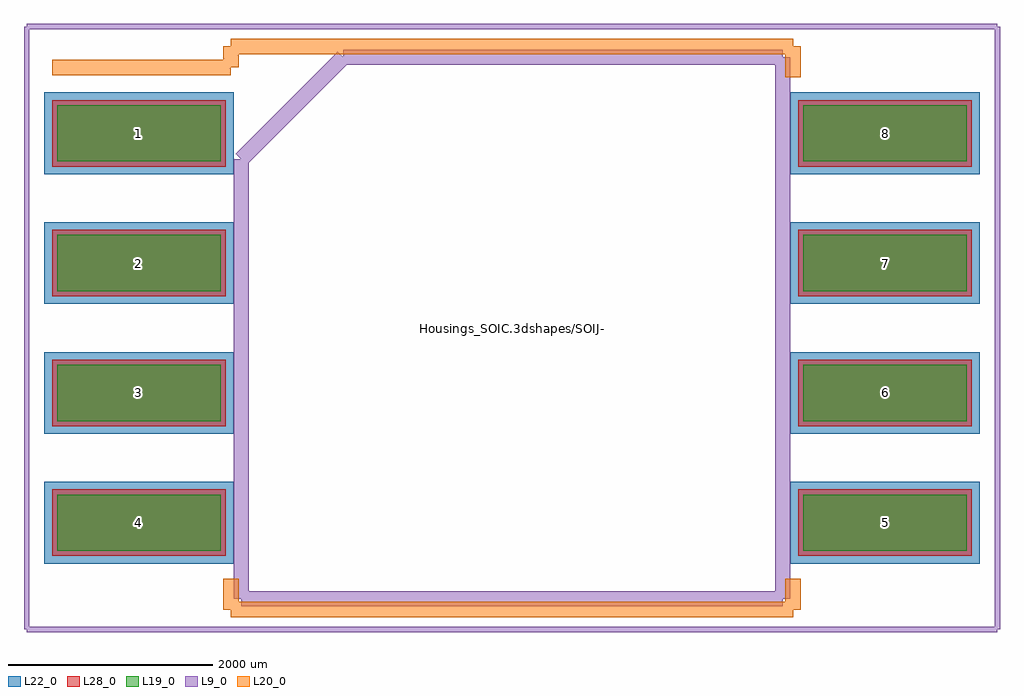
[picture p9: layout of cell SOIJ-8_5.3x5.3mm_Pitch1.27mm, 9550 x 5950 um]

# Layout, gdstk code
import gdstk
lib = gdstk.Library(unit=1e-6, precision=1e-09)
def R(c, l, rs):  # rectangles x0, y0, x1, y1
    for r in rs: c.add(gdstk.rectangle(r[:2], r[2:], *l))
def A(c, l, x, y, w, h, nx, ny, dx, dy):  # array of equal rectangles
    R(c, l, [(x+i*dx, y+j*dy, x+i*dx+w, y+j*dy+h) for i in range(nx) for j in range(ny)])
L9_0 = (9, 0)
L19_0 = (19, 0)
L20_0 = (20, 0)
L22_0 = (22, 0)
L28_0 = (28, 0)

soij_8_5_3x5_3mm_pitch1_ = lib.new_cell('SOIJ-8_5.3x5.3mm_Pitch1.27mm')
A(soij_8_5_3x5_3mm_pitch1_, L19_0, -4450, -2180, 1600, 550, 1, 4, 0, 1270)
A(soij_8_5_3x5_3mm_pitch1_, L19_0, 2850, -2180, 1600, 550, 1, 4, 0, 1270)
A(soij_8_5_3x5_3mm_pitch1_, L22_0, -4575, -2305, 1850, 800, 1, 4, 0, 1270)
A(soij_8_5_3x5_3mm_pitch1_, L22_0, 2725, -2305, 1850, 800, 1, 4, 0, 1270)
A(soij_8_5_3x5_3mm_pitch1_, L28_0, -4500, -2230, 1700, 650, 1, 4, 0, 1270)
A(soij_8_5_3x5_3mm_pitch1_, L28_0, 2800, -2230, 1700, 650, 1, 4, 0, 1270)
soij_8_5_3x5_3mm_pitch1_.add(gdstk.FlexPath([(-2750,2550),(-4500,2550)], 149.998, ends="flush", simple_path=True, layer=20, datatype=0))  # L20_0
soij_8_5_3x5_3mm_pitch1_.add(gdstk.FlexPath([(-2750,-2755),(2750,-2755)], 149.998, ends="flush", simple_path=True, layer=20, datatype=0))  # L20_0
soij_8_5_3x5_3mm_pitch1_.add(gdstk.FlexPath([(-2750,2755),(2750,2755)], 149.998, ends="flush", simple_path=True, layer=20, datatype=0))  # L20_0
soij_8_5_3x5_3mm_pitch1_.add(gdstk.FlexPath([(-2750,-2755),(-2750,-2455)], 149.998, ends="flush", simple_path=True, layer=20, datatype=0))  # L20_0
soij_8_5_3x5_3mm_pitch1_.add(gdstk.FlexPath([(2750,-2755),(2750,-2455)], 149.998, ends="flush", simple_path=True, layer=20, datatype=0))  # L20_0
soij_8_5_3x5_3mm_pitch1_.add(gdstk.FlexPath([(2750,2755),(2750,2455)], 149.998, ends="flush", simple_path=True, layer=20, datatype=0))  # L20_0
soij_8_5_3x5_3mm_pitch1_.add(gdstk.FlexPath([(-2750,2755),(-2750,2550)], 149.998, ends="flush", simple_path=True, layer=20, datatype=0))  # L20_0
soij_8_5_3x5_3mm_pitch1_.add(gdstk.FlexPath([(-4750,-2950),(4750,-2950)], 50, ends="flush", simple_path=True, layer=9, datatype=0))  # L9_0
soij_8_5_3x5_3mm_pitch1_.add(gdstk.FlexPath([(-4750,2950),(4750,2950)], 50, ends="flush", simple_path=True, layer=9, datatype=0))  # L9_0
soij_8_5_3x5_3mm_pitch1_.add(gdstk.FlexPath([(4750,2950),(4750,-2950)], 50, ends="flush", simple_path=True, layer=9, datatype=0))  # L9_0
soij_8_5_3x5_3mm_pitch1_.add(gdstk.FlexPath([(-4750,2950),(-4750,-2950)], 50, ends="flush", simple_path=True, layer=9, datatype=0))  # L9_0
soij_8_5_3x5_3mm_pitch1_.add(gdstk.FlexPath([(-2650,1650),(-1650,2650)], 149.998, ends="flush", simple_path=True, layer=9, datatype=0))  # L9_0
soij_8_5_3x5_3mm_pitch1_.add(gdstk.FlexPath([(-2650,-2650),(-2650,1650)], 149.998, ends="flush", simple_path=True, layer=9, datatype=0))  # L9_0
soij_8_5_3x5_3mm_pitch1_.add(gdstk.FlexPath([(2650,-2650),(-2650,-2650)], 149.998, ends="flush", simple_path=True, layer=9, datatype=0))  # L9_0
soij_8_5_3x5_3mm_pitch1_.add(gdstk.FlexPath([(2650,2650),(2650,-2650)], 149.998, ends="flush", simple_path=True, layer=9, datatype=0))  # L9_0
soij_8_5_3x5_3mm_pitch1_.add(gdstk.FlexPath([(-1650,2650),(2650,2650)], 149.998, ends="flush", simple_path=True, layer=9, datatype=0))  # L9_0
soij_8_5_3x5_3mm_pitch1_.add(gdstk.Label('Housings_SOIC.3dshapes/SOIJ-8_5.3x5.3mm_Pitch1.27mm.wrl', (0,0), layer=12, texttype=0))
soij_8_5_3x5_3mm_pitch1_.add(gdstk.Label('8', (3650,1905), layer=28, texttype=0))
soij_8_5_3x5_3mm_pitch1_.add(gdstk.Label('7', (3650,635), layer=28, texttype=0))
soij_8_5_3x5_3mm_pitch1_.add(gdstk.Label('6', (3650,-635), layer=28, texttype=0))
soij_8_5_3x5_3mm_pitch1_.add(gdstk.Label('5', (3650,-1905), layer=28, texttype=0))
soij_8_5_3x5_3mm_pitch1_.add(gdstk.Label('4', (-3650,-1905), layer=28, texttype=0))
soij_8_5_3x5_3mm_pitch1_.add(gdstk.Label('3', (-3650,-635), layer=28, texttype=0))
soij_8_5_3x5_3mm_pitch1_.add(gdstk.Label('2', (-3650,635), layer=28, texttype=0))
soij_8_5_3x5_3mm_pitch1_.add(gdstk.Label('1', (-3650,1905), layer=28, texttype=0))
soij_8_5_3x5_3mm_pitch1_.add(gdstk.Label('type', (0,-3680), layer=9, texttype=0))
soij_8_5_3x5_3mm_pitch1_.add(gdstk.Label('devicename', (0,3680), layer=9, texttype=0))

lib.write_gds('SOIJ-8_5.3x5.3mm_Pitch1.27mm.gds')
